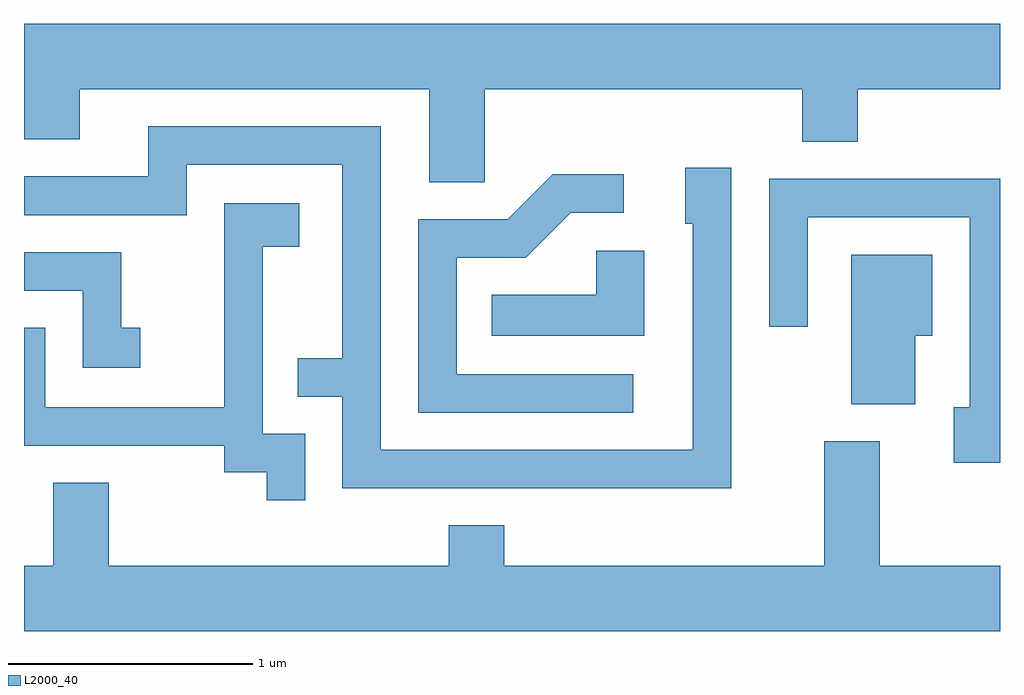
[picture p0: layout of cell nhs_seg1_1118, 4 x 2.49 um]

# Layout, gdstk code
import gdstk
lib = gdstk.Library(unit=1e-6, precision=1e-09)
def P(c, l, *ps):  # polygons
    for p in ps: c.add(gdstk.Polygon(p, *l))
L2000_40 = (2000, 40)

nhs_seg1_1118 = lib.new_cell('nhs_seg1_1118')
P(nhs_seg1_1118, L2000_40, [(221.499,908.456),(222.801,908.456),(222.801,908.241),(223.029,908.241),(223.029,908.456),(223.611,908.456),(223.611,908.724),(219.611,908.724),(219.611,908.251),(219.839,908.251),(219.839,908.456),(221.271,908.456),(221.271,908.076),(221.499,908.076)],
  [(222.509,908.134),(222.321,908.134),(222.321,907.906),(222.351,907.906),(222.351,906.979),(221.074,906.979),(221.074,908.304),(220.121,908.304),(220.121,908.099),(219.611,908.099),(219.611,907.941),(220.279,907.941),(220.279,908.146),(220.916,908.146),(220.916,907.354),(220.733,907.354),(220.733,907.196),(220.916,907.196),(220.916,906.821),(222.509,906.821)],
  [(222.108,907.289),(221.384,907.289),(221.384,907.766),(221.667,907.766),(221.852,907.951),(222.068,907.951),(222.068,908.109),(221.779,908.109),(221.594,907.924),(221.226,907.924),(221.226,907.131),(222.108,907.131)],
  [(223.611,908.089),(222.666,908.089),(222.666,907.483),(222.824,907.483),(222.824,907.931),(223.486,907.931),(223.486,907.154),(223.421,907.154),(223.421,906.926),(223.611,906.926)],
  [(220.764,907.044),(220.589,907.044),(220.589,907.811),(220.739,907.811),(220.739,907.989),(220.431,907.989),(220.431,907.154),(219.699,907.154),(219.699,907.479),(219.611,907.479),(219.611,906.996),(220.431,906.996),(220.431,906.886),(220.606,906.886),(220.606,906.773),(220.764,906.773)],
  [(222.154,907.794),(221.956,907.794),(221.956,907.614),(221.528,907.614),(221.528,907.446),(222.154,907.446)],
  [(220.088,907.479),(220.009,907.479),(220.009,907.789),(219.611,907.789),(219.611,907.631),(219.851,907.631),(219.851,907.316),(220.088,907.316)],
  [(223.264,907.446),(223.334,907.446),(223.334,907.779),(223.001,907.779),(223.001,907.166),(223.264,907.166)],
  [(223.611,906.504),(223.119,906.504),(223.119,907.014),(222.891,907.014),(222.891,906.504),(221.579,906.504),(221.579,906.669),(221.351,906.669),(221.351,906.504),(219.959,906.504),(219.959,906.844),(219.731,906.844),(219.731,906.504),(219.611,906.504),(219.611,906.236),(223.611,906.236)])

lib.write_gds('nhs_seg1_1118.gds')
